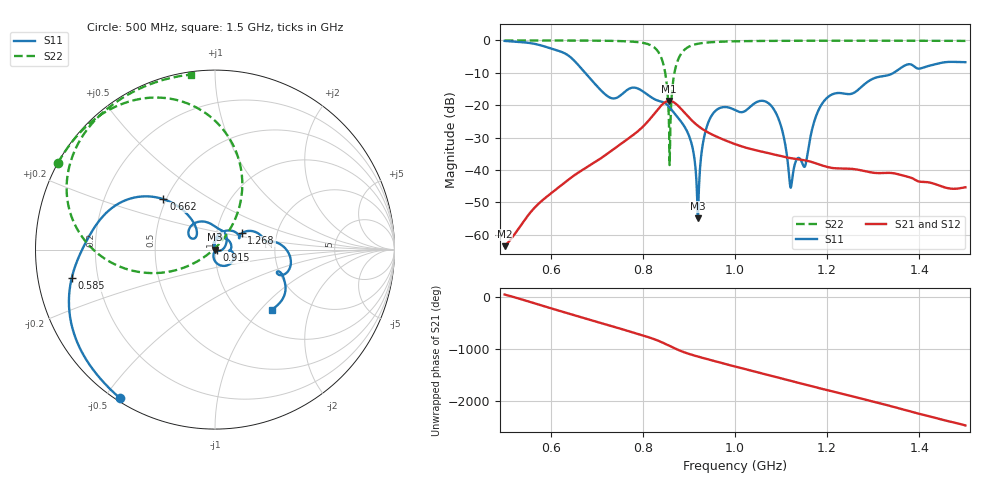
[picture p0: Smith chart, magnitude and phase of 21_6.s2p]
! TOUCHSTONE file generated by CST MICROWAVE STUDIO
! Date and time: Fri Oct  2 18:57:27 2020
! Project name: Scenario_1_Free_Space_out_of_line.cst
! Parameters = {Lambda=346.42; Step_1=17.321; dy1=0.82; dx1=1039; L_HA=400; MT=2.54; Rad_Dielectric=30; Rad_Lower=7.3; Rad_Upper=30; a_HA=580; a_WG=246; b_HA=500; b_WG=121; c_HA=0; c_WG=187; d_feed=85; h_feed=15; h_lower=18; h_upper=40}
! Header version: 2018
! Port assignment regex: !\s*Touchstone port\s*([0-9]+)\s*=\s*(CST MWS port|CST DS port)\s*([0-9]+|Zmin|Zmax)\s*\(\"(.*)\"\)(\s*mode\s*([0-9]+))?.*
! Touchstone port assignment:
! Touchstone port 1 = CST MWS port 1 ("")
! Touchstone port 2 = CST MWS port 2 ("")
# GHz S DB R 50
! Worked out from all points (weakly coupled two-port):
!   1003 points, 500 MHz to 1.5 GHz, reference 50 ohm
!   highest |S21| = -18.64 dB at 857 MHz (marker M1); lowest = -63.5 dB at 500 MHz (marker M2)
!   lowest |S11| = -54.9 dB at 919 MHz (marker M3), VSWR 1.00, Z = 50.2 + j0.0495 ohm
!   |S11| at or under -10 dB: 674.8 MHz to 1.344 GHz (669.4 MHz wide, 66.3 % of centre)
!   |S22| runs from -38.5 to 0.0 dB; largest |S21 - S12| = 3.4e-06
!   S11 on the Smith chart (normalised r, x): 500 MHz: 0.01, -0.55; 585 MHz: 0.10, -0.10; 662 MHz: 0.48, +0.32; 915 MHz: 1.02, -0.01; 1.268 GHz: 1.32, +0.25; 1.5 GHz: 1.36, -1.16
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0.5  -0.15 -122.5  -63.48 46.7  -63.48 46.7  -0.01 151.1
0.585  -1.78 -168.7  -48.97 -177.2  -48.97 -177.2  -0.02 145.2
0.662  -7.92 135.6  -40.59 -18.9  -40.59 -18.9  -0.04 138.8
0.667  -8.73 133.3  -40.13 -32.1  -40.13 -32.1  -0.04 138.3
0.73  -17.72 141.5  -34.22 166.8  -34.22 166.8  -0.13 130.7
0.779  -14.55 134.8  -29.18 37.6  -29.18 37.6  -0.39 120.6
0.834  -18.64 79.7  -21.02 -122.3  -21.02 -122.3  -3.64 85.1
0.848  -19.29 61.5  -19.08 -177.5  -19.08 -177.5  -9.59 63.6
0.857  -20.48 47.0  -18.64 143.7  -18.64 143.7  -27.13 53.2
0.876  -23.79 23.2  -20.09 65.6  -20.09 65.6  -6.09 -167.0
0.904  -30.97 -13.0  -24.36 -23.9  -24.36 -23.9  -1.66 166.4
0.915  -40.66 -25.5  -25.81 -53.0  -25.81 -53.0  -1.16 160.4
0.919  -54.91 15.9  -26.28 -63.1  -26.28 -63.1  -1.04 158.6
0.946  -24.02 77.2  -28.73 -128.6  -28.73 -128.6  -0.57 149.9
1  -21.48 -2.2  -31.99 104.6  -31.99 104.6  -0.27 140.2
1.08  -20.41 -68.9  -35.01 -77.2  -35.01 -77.2  -0.14 131.5
1.122  -45.03 -30.6  -36.35 -171.7  -36.35 -171.7  -0.11 127.8
1.167  -27.64 92.0  -37.53 84.5  -37.53 84.5  -0.10 124.2
1.2  -17.68 54.6  -39.02 11.9  -39.02 11.8  -0.09 121.6
1.268  -15.14 31.3  -39.92 -138.4  -39.92 -138.4  -0.09 116.4
1.334  -10.66 9.0  -40.87 73.0  -40.87 73.0  -0.09 111.4
1.5  -6.71 -46.4  -45.32 52.4  -45.32 52.4  -0.14 97.8
